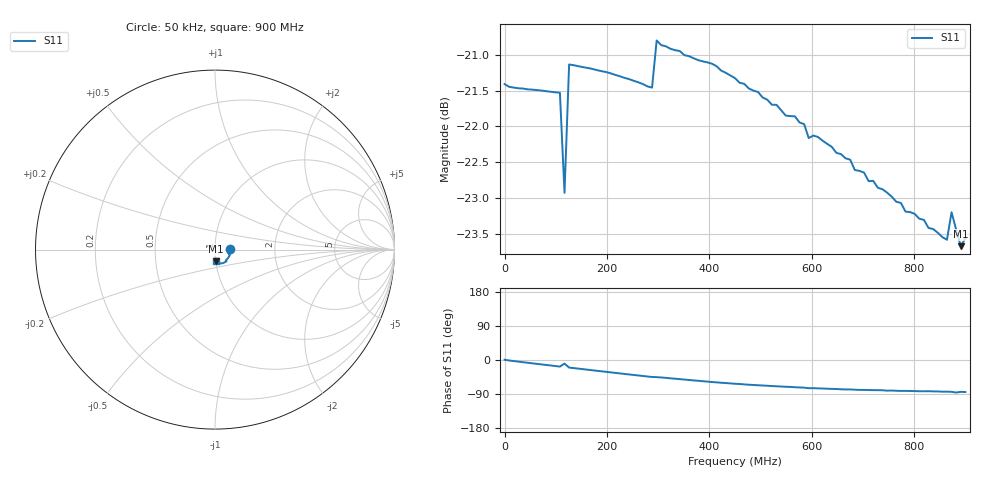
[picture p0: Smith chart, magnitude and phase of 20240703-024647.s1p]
# HZ S RI R 50
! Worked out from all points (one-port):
!   101 points, 50 kHz to 900 MHz, reference 50 ohm
!   lowest |S11| = -23.7 dB at 891 MHz (marker M1), VSWR 1.14, Z = 50.3 - j6.57 ohm
!   |S11| at or under -10 dB: start of sweep to end of sweep
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50000  0.085 0.000951
1.08044e8  0.08 -0.025
1.170435e8  0.0704 -0.0118
1.26043e8  0.0825 -0.03
2.250375e8  0.0702 -0.0498
2.88034e8  0.06 -0.0596
2.970335e8  0.0642 -0.0647
3.42031e8  0.057 -0.0692
4.50025e8  0.0394 -0.0763
5.310205e8  0.0291 -0.0769
5.490195e8  0.0268 -0.0762
5.670185e8  0.025 -0.0767
5.850175e8  0.0234 -0.0762
5.94017e8  0.021 -0.0751
6.12016e8  0.0204 -0.0754
6.750125e8  0.0161 -0.0735
6.84012e8  0.0149 -0.0725
7.02011e8  0.0142 -0.0723
7.110105e8  0.0134 -0.0715
7.2001e8  0.0132 -0.0715
7.290095e8  0.013 -0.0708
7.74007e8  0.0102 -0.0695
7.830065e8  0.0102 -0.0685
7.92006e8  0.00992 -0.0685
8.64002e8  0.00752 -0.0657
8.730015e8  0.00717 -0.0688
8.910005e8  0.00683 -0.0651
9e8  0.00624 -0.066
